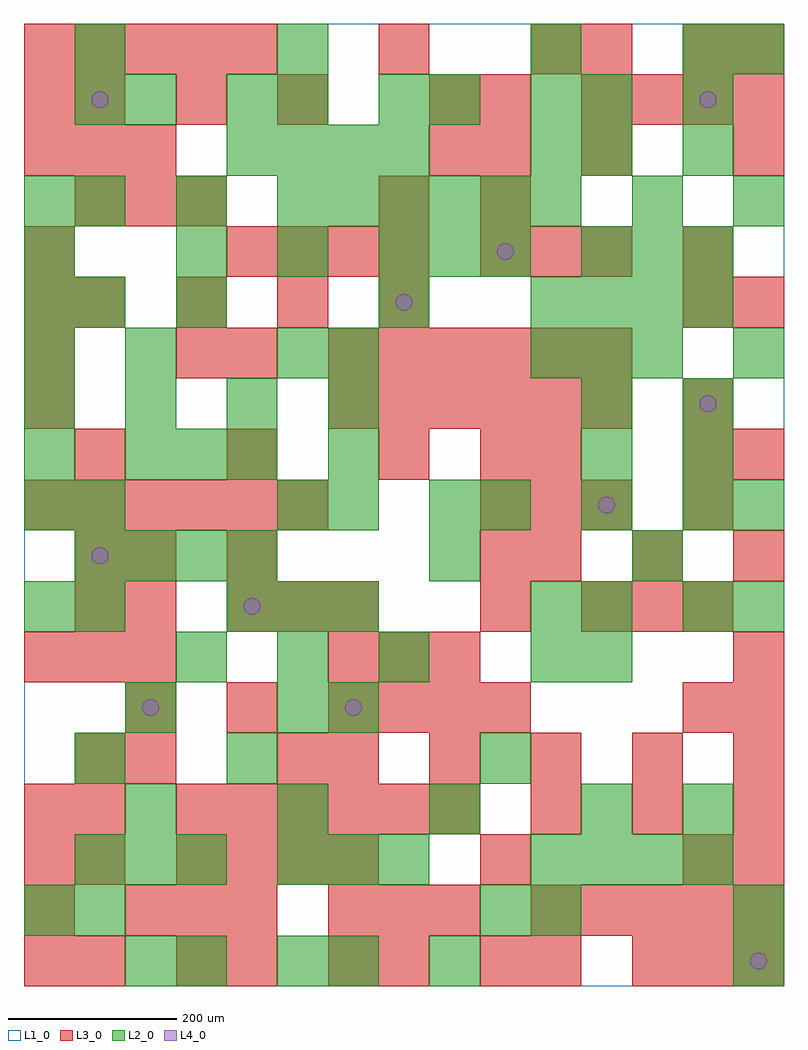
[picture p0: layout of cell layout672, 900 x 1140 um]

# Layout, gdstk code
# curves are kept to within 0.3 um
import gdstk
lib = gdstk.Library(unit=1e-6, precision=1e-09)
def R(c, l, rs):  # rectangles x0, y0, x1, y1
    for r in rs: c.add(gdstk.rectangle(r[:2], r[2:], *l))
def A(c, l, x, y, w, h, nx, ny, dx, dy):  # array of equal rectangles
    R(c, l, [(x+i*dx, y+j*dy, x+i*dx+w, y+j*dy+h) for i in range(nx) for j in range(ny)])
def P(c, l, *ps):  # polygons
    for p in ps: c.add(gdstk.Polygon(p, *l))
L1_0 = (1, 0)
L2_0 = (2, 0)
L3_0 = (3, 0)
L4_0 = (4, 0)

layout672 = lib.new_cell('layout672')
R(layout672, L1_0, [(0,0,900,1140)])
A(layout672, L2_0, 60, 60, 60, 60, 1, 3, 0, 180)
A(layout672, L2_0, 60, 120, 60, 60, 3, 1, 60, 0)
A(layout672, L2_0, 300, 120, 60, 60, 3, 1, 60, 0)
A(layout672, L2_0, 600, 120, 60, 60, 4, 2, 60, 660)
A(layout672, L2_0, 120, 180, 60, 60, 4, 1, 180, 0)
A(layout672, L2_0, 180, 360, 60, 60, 3, 2, 120, 480)
A(layout672, L2_0, 240, 420, 60, 60, 3, 1, 60, 0)
A(layout672, L2_0, 60, 480, 60, 60, 4, 1, 60, 0)
A(layout672, L2_0, 60, 540, 60, 60, 1, 3, 0, 240)
A(layout672, L2_0, 540, 540, 60, 60, 3, 1, 120, 0)
A(layout672, L2_0, 840, 540, 60, 60, 1, 4, 0, 180)
A(layout672, L2_0, 120, 600, 60, 60, 3, 1, 60, 0)
A(layout672, L2_0, 0, 660, 60, 60, 4, 1, 120, 0)
A(layout672, L2_0, 0, 720, 60, 60, 1, 4, 0, 60)
A(layout672, L2_0, 600, 720, 60, 60, 3, 1, 60, 0)
A(layout672, L2_0, 660, 840, 60, 60, 3, 1, 60, 0)
A(layout672, L2_0, 60, 900, 60, 60, 3, 1, 120, 0)
A(layout672, L2_0, 360, 900, 60, 60, 5, 1, 60, 0)
A(layout672, L2_0, 240, 960, 60, 60, 4, 1, 60, 0)
A(layout672, L2_0, 600, 960, 60, 60, 1, 3, 0, 60)
A(layout672, L2_0, 780, 960, 60, 60, 1, 3, 0, 60)
R(layout672, L2_0, [(120,0,180,60), (180,0,240,60), (300,0,360,60), (360,0,420,60), (480,0,540,60), (840,0,900,60), (0,60,60,120), (540,60,600,120), (600,60,660,120), (840,60,900,120), (780,180,840,240), (240,240,300,300), (540,240,600,300), (120,300,180,360), (300,300,360,360), (360,300,420,360), (600,360,660,420), (660,360,720,420), (0,420,60,480), (600,420,660,480), (660,420,720,480), (780,420,840,480), (840,420,900,480), (480,480,540,540), (720,480,780,540), (0,540,60,600), (300,540,360,600), (360,540,420,600), (480,540,540,600), (0,600,60,660), (360,600,420,660), (660,600,720,660), (780,600,840,660), (660,660,720,720), (780,660,840,720), (120,720,180,780), (300,720,360,780), (360,720,420,780), (180,780,240,840), (420,780,480,840), (480,840,540,900), (540,840,600,900), (720,900,780,960), (660,960,720,1020), (120,1020,180,1080), (240,1020,300,1080), (300,1020,360,1080), (420,1020,480,1080), (480,1020,540,1080), (660,1020,720,1080), (60,1080,120,1140), (300,1080,360,1140)])
A(layout672, L3_0, 0, 0, 60, 60, 1, 4, 0, 60)
A(layout672, L3_0, 720, 0, 60, 60, 3, 1, 60, 0)
A(layout672, L3_0, 120, 60, 60, 60, 3, 1, 60, 0)
A(layout672, L3_0, 360, 60, 60, 60, 3, 2, 60, 300)
A(layout672, L3_0, 600, 60, 60, 60, 5, 1, 60, 0)
A(layout672, L3_0, 60, 120, 60, 60, 1, 3, 0, 60)
A(layout672, L3_0, 180, 120, 60, 60, 4, 1, 60, 0)
A(layout672, L3_0, 180, 180, 60, 60, 6, 1, 60, 0)
A(layout672, L3_0, 600, 180, 60, 60, 3, 2, 120, 300)
A(layout672, L3_0, 360, 240, 60, 60, 5, 1, 120, 0)
A(layout672, L3_0, 120, 300, 60, 60, 3, 1, 120, 0)
A(layout672, L3_0, 420, 300, 60, 60, 3, 1, 60, 0)
A(layout672, L3_0, 0, 360, 60, 60, 3, 2, 60, 600)
A(layout672, L3_0, 240, 420, 60, 60, 3, 1, 60, 0)
A(layout672, L3_0, 660, 420, 60, 60, 3, 1, 60, 0)
A(layout672, L3_0, 0, 540, 60, 60, 6, 1, 60, 0)
A(layout672, L3_0, 540, 540, 60, 60, 3, 2, 60, 300)
A(layout672, L3_0, 780, 540, 60, 60, 1, 3, 0, 60)
A(layout672, L3_0, 60, 600, 60, 60, 3, 1, 180, 0)
A(layout672, L3_0, 840, 600, 60, 60, 1, 3, 0, 180)
A(layout672, L3_0, 0, 660, 60, 60, 1, 4, 0, 60)
A(layout672, L3_0, 360, 660, 60, 60, 6, 2, 60, 60)
A(layout672, L3_0, 60, 780, 60, 60, 4, 1, 120, 0)
A(layout672, L3_0, 240, 840, 60, 60, 4, 1, 60, 0)
A(layout672, L3_0, 60, 900, 60, 60, 3, 1, 60, 0)
A(layout672, L3_0, 540, 900, 60, 60, 1, 3, 0, 60)
A(layout672, L3_0, 60, 1020, 60, 60, 3, 1, 120, 0)
A(layout672, L3_0, 660, 1020, 60, 60, 4, 1, 60, 0)
A(layout672, L3_0, 0, 1080, 60, 60, 5, 1, 60, 0)
R(layout672, L3_0, [(60,0,120,60), (180,0,240,60), (240,0,300,60), (360,0,420,60), (420,0,480,60), (540,0,600,60), (600,0,660,60), (540,120,600,180), (780,120,840,180), (840,120,900,180), (120,240,180,300), (300,240,360,300), (780,300,840,360), (840,300,900,360), (840,360,900,420), (60,420,120,480), (120,420,180,480), (540,420,600,480), (60,480,120,540), (120,480,180,540), (240,480,300,540), (540,480,600,540), (540,600,600,660), (600,600,660,660), (180,720,240,780), (240,720,300,780), (780,780,840,840), (780,840,840,900), (420,900,480,960), (480,960,540,1020), (660,960,720,1020), (0,1020,60,1080), (480,1020,540,1080), (420,1080,480,1140), (600,1080,660,1140), (660,1080,720,1140), (780,1080,840,1140), (840,1080,900,1140)])
P(layout672, L4_0, [(100,510),(99.239,513.827),(97.071,517.071),(93.827,519.239),(90,520),(86.173,519.239),(82.929,517.071),(80.761,513.827),(80,510),(80.761,506.173),(82.929,502.929),(86.173,500.761),(90,500),(93.827,500.761),(97.071,502.929),(99.239,506.173)],
  [(100,1050),(99.239,1053.827),(97.071,1057.071),(93.827,1059.239),(90,1060),(86.173,1059.239),(82.929,1057.071),(80.761,1053.827),(80,1050),(80.761,1046.173),(82.929,1042.929),(86.173,1040.761),(90,1040),(93.827,1040.761),(97.071,1042.929),(99.239,1046.173)],
  [(160,330),(159.239,333.827),(157.071,337.071),(153.827,339.239),(150,340),(146.173,339.239),(142.929,337.071),(140.761,333.827),(140,330),(140.761,326.173),(142.929,322.929),(146.173,320.761),(150,320),(153.827,320.761),(157.071,322.929),(159.239,326.173)],
  [(280,450),(279.239,453.827),(277.071,457.071),(273.827,459.239),(270,460),(266.173,459.239),(262.929,457.071),(260.761,453.827),(260,450),(260.761,446.173),(262.929,442.929),(266.173,440.761),(270,440),(273.827,440.761),(277.071,442.929),(279.239,446.173)],
  [(400,330),(399.239,333.827),(397.071,337.071),(393.827,339.239),(390,340),(386.173,339.239),(382.929,337.071),(380.761,333.827),(380,330),(380.761,326.173),(382.929,322.929),(386.173,320.761),(390,320),(393.827,320.761),(397.071,322.929),(399.239,326.173)],
  [(460,810),(459.239,813.827),(457.071,817.071),(453.827,819.239),(450,820),(446.173,819.239),(442.929,817.071),(440.761,813.827),(440,810),(440.761,806.173),(442.929,802.929),(446.173,800.761),(450,800),(453.827,800.761),(457.071,802.929),(459.239,806.173)],
  [(580,870),(579.239,873.827),(577.071,877.071),(573.827,879.239),(570,880),(566.173,879.239),(562.929,877.071),(560.761,873.827),(560,870),(560.761,866.173),(562.929,862.929),(566.173,860.761),(570,860),(573.827,860.761),(577.071,862.929),(579.239,866.173)],
  [(700,570),(699.239,573.827),(697.071,577.071),(693.827,579.239),(690,580),(686.173,579.239),(682.929,577.071),(680.761,573.827),(680,570),(680.761,566.173),(682.929,562.929),(686.173,560.761),(690,560),(693.827,560.761),(697.071,562.929),(699.239,566.173)],
  [(820,690),(819.239,693.827),(817.071,697.071),(813.827,699.239),(810,700),(806.173,699.239),(802.929,697.071),(800.761,693.827),(800,690),(800.761,686.173),(802.929,682.929),(806.173,680.761),(810,680),(813.827,680.761),(817.071,682.929),(819.239,686.173)],
  [(820,1050),(819.239,1053.827),(817.071,1057.071),(813.827,1059.239),(810,1060),(806.173,1059.239),(802.929,1057.071),(800.761,1053.827),(800,1050),(800.761,1046.173),(802.929,1042.929),(806.173,1040.761),(810,1040),(813.827,1040.761),(817.071,1042.929),(819.239,1046.173)],
  [(880,30),(879.239,33.827),(877.071,37.071),(873.827,39.239),(870,40),(866.173,39.239),(862.929,37.071),(860.761,33.827),(860,30),(860.761,26.173),(862.929,22.929),(866.173,20.761),(870,20),(873.827,20.761),(877.071,22.929),(879.239,26.173)])

lib.write_gds('layout672.gds')
